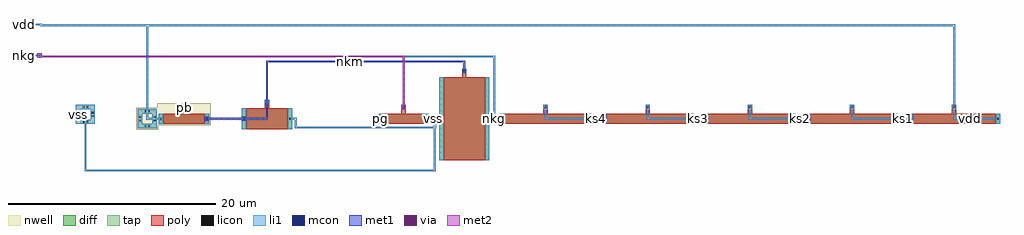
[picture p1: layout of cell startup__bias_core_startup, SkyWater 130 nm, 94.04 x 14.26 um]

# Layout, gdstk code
from math import pi, radians
import gdstk
lib = gdstk.Library(unit=1e-6, precision=1e-09)
def R(c, l, rs):  # rectangles x0, y0, x1, y1
    for r in rs: c.add(gdstk.rectangle(r[:2], r[2:], *l))
def A(c, l, x, y, w, h, nx, ny, dx, dy):  # array of equal rectangles
    R(c, l, [(x+i*dx, y+j*dy, x+i*dx+w, y+j*dy+h) for i in range(nx) for j in range(ny)])
def P(c, l, *ps):  # polygons
    for p in ps: c.add(gdstk.Polygon(p, *l))
nwell = (64, 20)
diff = (65, 20)
tap = (65, 44)
poly = (66, 20)
licon = (66, 44)
li1 = (67, 20)
mcon = (67, 44)
met1 = (68, 20)
via = (68, 44)
met2 = (69, 20)

stub_nkg__promo_stub = lib.new_cell('stub_nkg__promo_stub')
R(stub_nkg__promo_stub, li1, [(0,0,1.5,0.17)])

stub_vdd__promo_stub_1 = lib.new_cell('stub_vdd__promo_stub$1')
R(stub_vdd__promo_stub_1, li1, [(0,0,1.5,0.17)])

guard_ring_1_1 = lib.new_cell('guard_ring$1$1')
P(guard_ring_1_1, tap, [(0,0),(0,1.42),(0.42,1.42),(0.42,0.42),(1.42,0.42),(1.42,1.42),(0,1.42),(0,1.84),(1.84,1.84),(1.84,0)])
R(guard_ring_1_1, licon, [(0.67,0.125,0.84,0.295), (1,0.125,1.17,0.295), (0.125,0.67,0.295,0.84), (1.545,0.67,1.715,0.84), (0.125,1,0.295,1.17), (1.545,1,1.715,1.17), (0.67,1.545,0.84,1.715), (1,1.545,1.17,1.715)])
P(guard_ring_1_1, li1, [(0,0),(0,1.42),(0.42,1.42),(0.42,0.42),(1.42,0.42),(1.42,1.42),(0,1.42),(0,1.84),(1.84,1.84),(1.84,0)])

psub_tap__psub_tap = lib.new_cell('psub_tap__psub_tap')
psub_tap__psub_tap.add(gdstk.Reference(guard_ring_1_1, (0,0)))

guard_ring_11 = lib.new_cell('guard_ring$11')
R(guard_ring_11, nwell, [(-0.15,-0.15,1.99,1.99)])
P(guard_ring_11, tap, [(0,0),(0,1.42),(0.42,1.42),(0.42,0.42),(1.42,0.42),(1.42,1.42),(0,1.42),(0,1.84),(1.84,1.84),(1.84,0)])
R(guard_ring_11, licon, [(0.67,0.125,0.84,0.295), (1,0.125,1.17,0.295), (0.125,0.67,0.295,0.84), (1.545,0.67,1.715,0.84), (0.125,1,0.295,1.17), (1.545,1,1.715,1.17), (0.67,1.545,0.84,1.715), (1,1.545,1.17,1.715)])
P(guard_ring_11, li1, [(0,0),(0,1.42),(0.42,1.42),(0.42,0.42),(1.42,0.42),(1.42,1.42),(0,1.42),(0,1.84),(1.84,1.84),(1.84,0)])

nwell_tap__nwell_tap = lib.new_cell('nwell_tap__nwell_tap')
nwell_tap__nwell_tap.add(gdstk.Reference(guard_ring_11, (0,0)))

mos_array_8_1 = lib.new_cell('mos_array$8$1')
R(mos_array_8_1, nwell, [(-0.15,-0.15,4.99,1.97)])
R(mos_array_8_1, diff, [(0,0,4.84,1)])
R(mos_array_8_1, poly, [(0.42,0,4.42,1), (2.21,1,2.63,1.82)])
R(mos_array_8_1, licon, [(0.125,0.415,0.295,0.585), (4.545,0.415,4.715,0.585), (2.335,1.525,2.505,1.695)])
R(mos_array_8_1, li1, [(0,0,0.42,1), (4.42,0,4.84,1), (2.21,1.4,2.63,1.82)])

ka__ka = lib.new_cell('ka__ka')
ka__ka.add(gdstk.Reference(mos_array_8_1, (0,0)))

mos_array_7_1 = lib.new_cell('mos_array$7$1')
R(mos_array_7_1, diff, [(0,0,4.84,2)])
R(mos_array_7_1, poly, [(0.42,0,4.42,2), (2.21,2,2.63,2.82)])
R(mos_array_7_1, licon, [(0.125,0.915,0.295,1.085), (4.545,0.915,4.715,1.085), (2.335,2.525,2.505,2.695)])
R(mos_array_7_1, li1, [(0,0,0.42,2), (4.42,0,4.84,2), (2.21,2.4,2.63,2.82)])

kan__kan = lib.new_cell('kan__kan')
kan__kan.add(gdstk.Reference(mos_array_7_1, (0,0)))

mos_array_6_1 = lib.new_cell('mos_array$6$1')
R(mos_array_6_1, diff, [(0,0,4.84,1)])
R(mos_array_6_1, poly, [(0.42,0,4.42,1), (2.21,1,2.63,1.82)])
R(mos_array_6_1, licon, [(0.125,0.415,0.295,0.585), (4.545,0.415,4.715,0.585), (2.335,1.525,2.505,1.695)])
R(mos_array_6_1, li1, [(0,0,0.42,1), (4.42,0,4.84,1), (2.21,1.4,2.63,1.82)])

kick__kick = lib.new_cell('kick__kick')
kick__kick.add(gdstk.Reference(mos_array_6_1, (0,0)))

mos_array_5_1 = lib.new_cell('mos_array$5$1')
R(mos_array_5_1, diff, [(0,0,8.84,1)])
R(mos_array_5_1, poly, [(0.42,0,8.42,1), (4.21,1,4.63,1.82)])
R(mos_array_5_1, licon, [(0.125,0.415,0.295,0.585), (8.545,0.415,8.715,0.585), (4.335,1.525,4.505,1.695)])
R(mos_array_5_1, li1, [(0,0,0.42,1), (8.42,0,8.84,1), (4.21,1.4,4.63,1.82)])

ks0__ks0 = lib.new_cell('ks0__ks0')
ks0__ks0.add(gdstk.Reference(mos_array_5_1, (0,0)))

mos_array_4_1 = lib.new_cell('mos_array$4$1')
R(mos_array_4_1, diff, [(0,0,8.84,1)])
R(mos_array_4_1, poly, [(0.42,0,8.42,1), (4.21,1,4.63,1.82)])
R(mos_array_4_1, licon, [(0.125,0.415,0.295,0.585), (8.545,0.415,8.715,0.585), (4.335,1.525,4.505,1.695)])
R(mos_array_4_1, li1, [(0,0,0.42,1), (8.42,0,8.84,1), (4.21,1.4,4.63,1.82)])

ks1__ks1 = lib.new_cell('ks1__ks1')
ks1__ks1.add(gdstk.Reference(mos_array_4_1, (0,0)))

mos_array_3_1 = lib.new_cell('mos_array$3$1')
R(mos_array_3_1, diff, [(0,0,8.84,1)])
R(mos_array_3_1, poly, [(0.42,0,8.42,1), (4.21,1,4.63,1.82)])
R(mos_array_3_1, licon, [(0.125,0.415,0.295,0.585), (8.545,0.415,8.715,0.585), (4.335,1.525,4.505,1.695)])
R(mos_array_3_1, li1, [(0,0,0.42,1), (8.42,0,8.84,1), (4.21,1.4,4.63,1.82)])

ks2__ks2 = lib.new_cell('ks2__ks2')
ks2__ks2.add(gdstk.Reference(mos_array_3_1, (0,0)))

mos_array_2_1 = lib.new_cell('mos_array$2$1')
R(mos_array_2_1, diff, [(0,0,8.84,1)])
R(mos_array_2_1, poly, [(0.42,0,8.42,1), (4.21,1,4.63,1.82)])
R(mos_array_2_1, licon, [(0.125,0.415,0.295,0.585), (8.545,0.415,8.715,0.585), (4.335,1.525,4.505,1.695)])
R(mos_array_2_1, li1, [(0,0,0.42,1), (8.42,0,8.84,1), (4.21,1.4,4.63,1.82)])

ks3__ks3 = lib.new_cell('ks3__ks3')
ks3__ks3.add(gdstk.Reference(mos_array_2_1, (0,0)))

mos_array_1_1 = lib.new_cell('mos_array$1$1')
R(mos_array_1_1, diff, [(0,0,8.84,1)])
R(mos_array_1_1, poly, [(0.42,0,8.42,1), (4.21,1,4.63,1.82)])
R(mos_array_1_1, licon, [(0.125,0.415,0.295,0.585), (8.545,0.415,8.715,0.585), (4.335,1.525,4.505,1.695)])
R(mos_array_1_1, li1, [(0,0,0.42,1), (8.42,0,8.84,1), (4.21,1.4,4.63,1.82)])

ks4__ks4 = lib.new_cell('ks4__ks4')
ks4__ks4.add(gdstk.Reference(mos_array_1_1, (0,0)))

mos_array_15 = lib.new_cell('mos_array$15')
R(mos_array_15, diff, [(0,0,4.84,8)])
R(mos_array_15, poly, [(0.42,0,4.42,8), (2.21,8,2.63,8.82)])
R(mos_array_15, licon, [(0.125,3.915,0.295,4.085), (4.545,3.915,4.715,4.085), (2.335,8.525,2.505,8.695)])
R(mos_array_15, li1, [(0,0,0.42,8), (4.42,0,4.84,8), (2.21,8.4,2.63,8.82)])

kpd__kpd = lib.new_cell('kpd__kpd')
kpd__kpd.add(gdstk.Reference(mos_array_15, (0,0)))

startup__bias_core_start = lib.new_cell('startup__bias_core_startup')
A(startup__bias_core_start, li1, 10.05, 5.11, 0.42, 0.17, 5, 1, 9.84, 0)
R(startup__bias_core_start, li1, [(-34.29,3.54,-33.87,3.71), (-22.58,3.79,-22.16,4.21), (-19,3.79,-18.58,4.21), (-19,3.79,-18.58,4.21), (-28.33,4.71,-27.91,4.88), (-28.33,4.71,-27.91,4.88), (-28.33,4.71,-27.91,4.88), (-3.63,4.9,-3.21,5.32), (-3.63,5.11,-3.21,5.28), (49.41,5.11,49.83,5.28), (-16.79,5.4,-16.37,5.82), (-16.79,5.4,-16.37,5.82), (2.21,8.4,2.63,8.82), (-38.71,9.875,-38.29,10.295)])
R(startup__bias_core_start, mcon, [(-22.455,3.915,-22.285,4.085), (-18.875,3.915,-18.705,4.085), (-18.875,3.915,-18.705,4.085), (-3.505,5.025,-3.335,5.195), (-16.665,5.525,-16.495,5.695), (-16.665,5.525,-16.495,5.695), (2.335,8.525,2.505,8.695), (-38.585,10,-38.415,10.17)])
R(startup__bias_core_start, met1, [(-22.58,3.79,-22.16,4.21), (-19,3.79,-18.58,4.21), (-19,3.79,-18.58,4.21), (-3.63,4.9,-3.21,5.32), (-3.63,4.9,-3.21,5.32), (-16.79,5.4,-16.37,5.82), (-16.79,5.4,-16.37,5.82), (2.21,8.4,2.63,8.82), (-38.71,9.875,-38.29,10.295), (-38.71,9.875,-38.29,10.295)])
R(startup__bias_core_start, via, [(-3.495,5.035,-3.345,5.185), (-38.575,10.01,-38.425,10.16)])
R(startup__bias_core_start, met2, [(-3.63,4.9,-3.21,5.32), (-38.71,9.875,-38.29,10.295)])
startup__bias_core_start.add(gdstk.FlexPath([(53.83,4),(49.62,4),(49.62,5.11)], 0.17, ends="flush", simple_path=True, layer=67, datatype=20))  # li1
startup__bias_core_start.add(gdstk.FlexPath([(-26.79,4),(-27.41,4)], 0.17, ends="flush", simple_path=True, layer=67, datatype=20))  # li1
startup__bias_core_start.add(gdstk.FlexPath([(-28.12,4.71),(-28.12,13),(49.62,13),(49.62,5.11)], 0.17, ends="flush", simple_path=True, layer=67, datatype=20))  # li1
startup__bias_core_start.add(gdstk.FlexPath([(-28.12,4.71),(-28.12,13),(-38.33,13),(-38.33,13.085),(-38.5,13.085)], 0.17, ends="flush", simple_path=True, layer=67, datatype=20))  # li1
startup__bias_core_start.add(gdstk.FlexPath([(-27.41,4),(-28.12,4),(-28.12,4.71)], 0.17, ends="flush", simple_path=True, layer=67, datatype=20))  # li1
startup__bias_core_start.add(gdstk.FlexPath([(45.41,4),(43.99,4)], 0.17, ends="flush", simple_path=True, layer=67, datatype=20))  # li1
startup__bias_core_start.add(gdstk.FlexPath([(43.99,4),(39.78,4),(39.78,5.11)], 0.17, ends="flush", simple_path=True, layer=67, datatype=20))  # li1
startup__bias_core_start.add(gdstk.FlexPath([(35.57,4),(34.15,4)], 0.17, ends="flush", simple_path=True, layer=67, datatype=20))  # li1
startup__bias_core_start.add(gdstk.FlexPath([(34.15,4),(29.94,4),(29.94,5.11)], 0.17, ends="flush", simple_path=True, layer=67, datatype=20))  # li1
startup__bias_core_start.add(gdstk.FlexPath([(25.73,4),(24.31,4)], 0.17, ends="flush", simple_path=True, layer=67, datatype=20))  # li1
startup__bias_core_start.add(gdstk.FlexPath([(24.31,4),(20.1,4),(20.1,5.11)], 0.17, ends="flush", simple_path=True, layer=67, datatype=20))  # li1
startup__bias_core_start.add(gdstk.FlexPath([(15.89,4),(14.47,4)], 0.17, ends="flush", simple_path=True, layer=67, datatype=20))  # li1
startup__bias_core_start.add(gdstk.FlexPath([(14.47,4),(10.26,4),(10.26,5.11)], 0.17, ends="flush", simple_path=True, layer=67, datatype=20))  # li1
startup__bias_core_start.add(gdstk.FlexPath([(6.05,4),(4.63,4)], 0.17, ends="flush", simple_path=True, layer=67, datatype=20))  # li1
startup__bias_core_start.add(gdstk.FlexPath([(-3.42,5.11),(-3.42,10),(5.3,10),(5.3,4),(4.63,4)], 0.17, ends="flush", simple_path=True, layer=67, datatype=20))  # li1
startup__bias_core_start.add(gdstk.FlexPath([(-1.21,4),(0.21,4)], 0.17, ends="flush", simple_path=True, layer=67, datatype=20))  # li1
startup__bias_core_start.add(gdstk.FlexPath([(-34.08,3.71),(-34.08,-1),(-0.42,-1),(-0.42,4),(0.21,4)], 0.17, ends="flush", simple_path=True, layer=67, datatype=20))  # li1
startup__bias_core_start.add(gdstk.FlexPath([(0.21,4),(-0.34,4),(-0.34,3.16),(-13.82,3.16),(-13.82,4),(-14.37,4)], 0.17, ends="flush", simple_path=True, layer=67, datatype=20))  # li1
startup__bias_core_start.add(gdstk.FlexPath([(2.42,8.61),(2.42,9.5),(-16.58,9.5),(-16.58,5.61)], 0.17, ends="flush", simple_path=True, layer=68, datatype=20))  # met1
startup__bias_core_start.add(gdstk.FlexPath([(-18.79,4),(-16.58,4),(-16.58,5.61)], 0.17, ends="flush", simple_path=True, layer=68, datatype=20))  # met1
startup__bias_core_start.add(gdstk.FlexPath([(-18.79,4),(-22.37,4)], 0.17, ends="flush", simple_path=True, layer=68, datatype=20))  # met1
startup__bias_core_start.add(gdstk.FlexPath([(-3.42,5.11),(-3.42,10),(-38.33,10),(-38.33,10.085),(-38.5,10.085)], 0.17, ends="flush", simple_path=True, layer=69, datatype=20))  # met2
startup__bias_core_start.add(gdstk.Reference(stub_nkg__promo_stub, (-40,10)))
startup__bias_core_start.add(gdstk.Reference(stub_vdd__promo_stub_1, (-40,13)))
startup__bias_core_start.add(gdstk.Reference(psub_tap__psub_tap, (-35,3.5)))
startup__bias_core_start.add(gdstk.Reference(nwell_tap__nwell_tap, (-29.04,3.08)))
startup__bias_core_start.add(gdstk.Reference(ka__ka, (-27,3.5)))
startup__bias_core_start.add(gdstk.Reference(kan__kan, (-14.16,3), rotation=pi, x_reflection=True))
startup__bias_core_start.add(gdstk.Reference(kick__kick, (-1,3.5), rotation=pi, x_reflection=True))
startup__bias_core_start.add(gdstk.Reference(ks0__ks0, (45.2,3.5)))
startup__bias_core_start.add(gdstk.Reference(ks1__ks1, (35.36,3.5)))
startup__bias_core_start.add(gdstk.Reference(ks2__ks2, (25.52,3.5)))
startup__bias_core_start.add(gdstk.Reference(ks3__ks3, (15.68,3.5)))
startup__bias_core_start.add(gdstk.Reference(ks4__ks4, (5.84,3.5)))
startup__bias_core_start.add(gdstk.Reference(kpd__kpd, (0,0)))
startup__bias_core_start.add(gdstk.Label('nkm', (-8.58,9.5), layer=68, texttype=5))
startup__bias_core_start.add(gdstk.Label('vdd', (51.17,4), layer=67, texttype=5))
startup__bias_core_start.add(gdstk.Label('ks1', (44.7,4), layer=67, texttype=5))
startup__bias_core_start.add(gdstk.Label('ks2', (34.86,4), layer=67, texttype=5))
startup__bias_core_start.add(gdstk.Label('ks3', (25.02,4), layer=67, texttype=5))
startup__bias_core_start.add(gdstk.Label('ks4', (15.18,4), layer=67, texttype=5))
startup__bias_core_start.add(gdstk.Label('nkg', (5.34,4), layer=67, texttype=5))
startup__bias_core_start.add(gdstk.Label('vss', (-0.5,4), layer=67, texttype=5))
startup__bias_core_start.add(gdstk.Label('pb', (-24.58,5.11), layer=67, texttype=5))
startup__bias_core_start.add(gdstk.Label('pg', (-5.63,4), layer=67, texttype=5))
startup__bias_core_start.add(gdstk.Label('vdd', (-40,13.085), layer=67, texttype=5))
startup__bias_core_start.add(gdstk.Label('nkg', (-40,10.085), layer=67, texttype=5))
startup__bias_core_start.add(gdstk.Label('vss', (-34.79,4.42), layer=67, texttype=5))

lib.write_gds('startup__bias_core_startup.gds')
